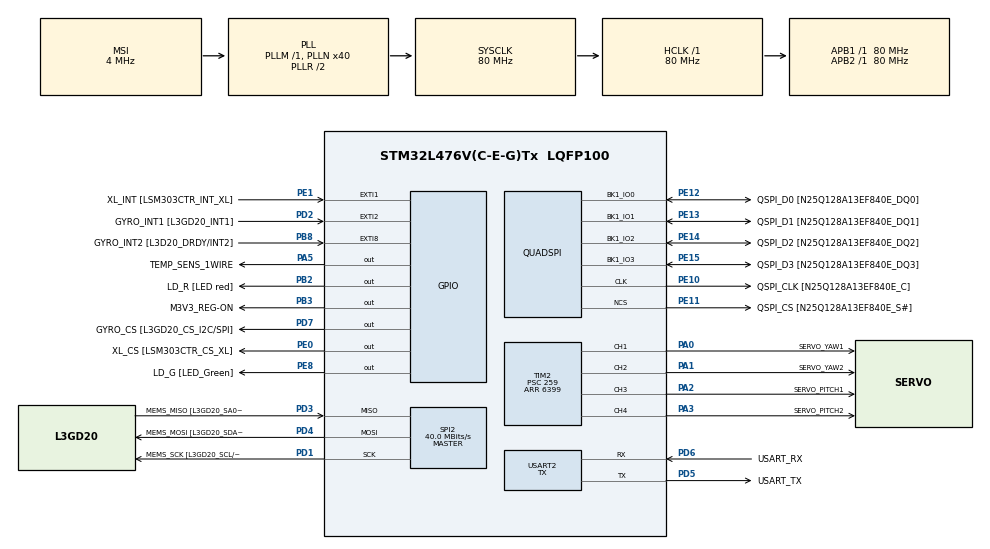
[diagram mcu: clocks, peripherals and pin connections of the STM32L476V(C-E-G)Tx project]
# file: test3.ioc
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CRC.CRCLength=CRC_POLYLENGTH_8B
CRC.DefaultInitValueUse=DEFAULT_INIT_VALUE_DISABLE
CRC.DefaultPolynomialUse=DEFAULT_POLYNOMIAL_DISABLE
Dma.QUADSPI.0.Direction=DMA_MEMORY_TO_PERIPH
Dma.QUADSPI.0.Instance=DMA1_Channel5
Dma.QUADSPI.0.MemDataAlignment=DMA_MDATAALIGN_BYTE
Dma.QUADSPI.0.MemInc=DMA_MINC_ENABLE
Dma.QUADSPI.0.Mode=DMA_NORMAL
Dma.QUADSPI.0.PeriphDataAlignment=DMA_PDATAALIGN_BYTE
Dma.QUADSPI.0.PeriphInc=DMA_PINC_DISABLE
Dma.QUADSPI.0.Priority=DMA_PRIORITY_LOW
Dma.Request0=QUADSPI
Mcu.Family=STM32L4
Mcu.Name=STM32L476V(C-E-G)Tx
Mcu.Package=LQFP100
NVIC.DMA1_Channel5_IRQn=true\:0\:0\:false\:false\:true\:false\:true
NVIC.PriorityGroup=NVIC_PRIORITYGROUP_4
NVIC.TIM6_DAC_IRQn=true\:0\:0\:false\:false\:true\:true\:true
PA0.GPIO_Label=SERVO_YAW1
PA0.Signal=S_TIM2_CH1
PA1.GPIO_Label=SERVO_YAW2
PA1.Signal=S_TIM2_CH2
PA13\ (JTMS-SWDIO).GPIO_Label=SWDIO
PA13\ (JTMS-SWDIO).Mode=Serial_Wire
PA13\ (JTMS-SWDIO).Signal=SYS_JTMS-SWDIO
PA14\ (JTCK-SWCLK).GPIO_Label=SWCLK
PA14\ (JTCK-SWCLK).Mode=Serial_Wire
PA14\ (JTCK-SWCLK).Signal=SYS_JTCK-SWCLK
PA2.GPIO_Label=SERVO_PITCH1
PA2.Signal=S_TIM2_CH3
PA3.GPIO_Label=SERVO_PITCH2
PA3.Signal=S_TIM2_CH4
PA5.GPIO_Label=TEMP_SENS_1WIRE
PA5.GPIO_ModeDefaultOutputPP=GPIO_MODE_OUTPUT_OD
PA5.GPIO_PuPd=GPIO_PULLUP
PA5.PinState=GPIO_PIN_SET
PA5.Signal=GPIO_Output
PB2.GPIO_Label=LD_R [LED red]
PB2.GPIO_ModeDefaultOutputPP=GPIO_MODE_OUTPUT_PP
PB2.GPIO_PuPd=GPIO_PULLUP
PB2.GPIO_Speed=GPIO_SPEED_FREQ_VERY_HIGH
PB2.Signal=GPIO_Output
PB3\ (JTDO-TRACESWO).GPIO_Label=M3V3_REG-ON
PB3\ (JTDO-TRACESWO).GPIO_ModeDefaultOutputPP=GPIO_MODE_OUTPUT_PP
PB3\ (JTDO-TRACESWO).GPIO_PuPd=GPIO_NOPULL
PB3\ (JTDO-TRACESWO).GPIO_Speed=GPIO_SPEED_FREQ_LOW
PB3\ (JTDO-TRACESWO).Signal=GPIO_Output
PB8.GPIO_Label=GYRO_INT2 [L3D20_DRDY/INT2]
PB8.GPIO_ModeDefaultEXTI=GPIO_MODE_EVT_RISING
PB8.GPIO_PuPd=GPIO_NOPULL
PB8.Signal=GPXTI8
PC14-OSC32_IN\ (PC14).Mode=LSE-External-Oscillator
PC14-OSC32_IN\ (PC14).Signal=RCC_OSC32_IN
PC15-OSC32_OUT\ (PC15).Mode=LSE-External-Oscillator
PC15-OSC32_OUT\ (PC15).Signal=RCC_OSC32_OUT
PD1.GPIO_Label=MEMS_SCK [L3GD20_SCL/SPC]
PD1.GPIO_Mode=GPIO_MODE_AF_PP
PD1.GPIO_PuPd=GPIO_NOPULL
PD1.GPIO_Speed=GPIO_SPEED_FREQ_VERY_HIGH
PD1.Mode=Full_Duplex_Master
PD1.Signal=SPI2_SCK
PD2.GPIO_Label=GYRO_INT1 [L3GD20_INT1]
PD2.GPIO_ModeDefaultEXTI=GPIO_MODE_EVT_RISING
PD2.GPIO_PuPd=GPIO_NOPULL
PD2.Signal=GPXTI2
PD3.GPIO_Label=MEMS_MISO [L3GD20_SA0/SDO]
PD3.GPIO_Mode=GPIO_MODE_AF_PP
PD3.GPIO_PuPd=GPIO_NOPULL
PD3.GPIO_Speed=GPIO_SPEED_FREQ_VERY_HIGH
PD3.Mode=Full_Duplex_Master
PD3.Signal=SPI2_MISO
PD4.GPIO_Label=MEMS_MOSI [L3GD20_SDA/SDI/SDO]
PD4.GPIO_Mode=GPIO_MODE_AF_PP
PD4.GPIO_PuPd=GPIO_NOPULL
PD4.GPIO_Speed=GPIO_SPEED_FREQ_VERY_HIGH
PD4.Mode=Full_Duplex_Master
PD4.Signal=SPI2_MOSI
PD5.GPIO_Label=USART_TX
PD5.GPIO_Mode=GPIO_MODE_AF_PP
PD5.GPIO_PuPd=GPIO_PULLUP
PD5.GPIO_Speed=GPIO_SPEED_FREQ_VERY_HIGH
PD5.Mode=Asynchronous
PD5.Signal=USART2_TX
PD6.GPIO_Label=USART_RX
PD6.GPIO_Mode=GPIO_MODE_AF_PP
PD6.GPIO_PuPd=GPIO_PULLUP
PD6.GPIO_Speed=GPIO_SPEED_FREQ_VERY_HIGH
PD6.Mode=Asynchronous
PD6.Signal=USART2_RX
PD7.GPIO_Label=GYRO_CS [L3GD20_CS_I2C/SPI]
PD7.GPIO_ModeDefaultOutputPP=GPIO_MODE_OUTPUT_PP
PD7.GPIO_PuPd=GPIO_NOPULL
PD7.GPIO_Speed=GPIO_SPEED_FREQ_VERY_HIGH
PD7.Signal=GPIO_Output
PE0.GPIO_Label=XL_CS [LSM303CTR_CS_XL]
PE0.GPIO_ModeDefaultOutputPP=GPIO_MODE_OUTPUT_PP
PE0.GPIO_PuPd=GPIO_NOPULL
PE0.GPIO_Speed=GPIO_SPEED_FREQ_LOW
PE0.Signal=GPIO_Output
PE1.GPIO_Label=XL_INT [LSM303CTR_INT_XL]
PE1.GPIO_ModeDefaultEXTI=GPIO_MODE_EVT_RISING
PE1.GPIO_PuPd=GPIO_NOPULL
PE1.Signal=GPXTI1
PE10.GPIO_Label=QSPI_CLK [N25Q128A13EF840E_C]
PE10.GPIO_Mode=GPIO_MODE_AF_PP
PE10.GPIO_PuPd=GPIO_NOPULL
PE10.GPIO_Speed=GPIO_SPEED_FREQ_VERY_HIGH
PE10.Mode=Single Bank
PE10.Signal=QUADSPI_CLK
PE11.GPIO_Label=QSPI_CS [N25Q128A13EF840E_S\#]
PE11.GPIO_Mode=GPIO_MODE_AF_PP
PE11.GPIO_PuPd=GPIO_NOPULL
PE11.GPIO_Speed=GPIO_SPEED_FREQ_VERY_HIGH
PE11.Mode=Single Bank
PE11.Signal=QUADSPI_NCS
PE12.GPIO_Label=QSPI_D0 [N25Q128A13EF840E_DQ0]
PE12.GPIO_Mode=GPIO_MODE_AF_PP
PE12.GPIO_PuPd=GPIO_NOPULL
PE12.GPIO_Speed=GPIO_SPEED_FREQ_VERY_HIGH
PE12.Mode=Single Bank
PE12.Signal=QUADSPI_BK1_IO0
PE13.GPIO_Label=QSPI_D1 [N25Q128A13EF840E_DQ1]
PE13.GPIO_Mode=GPIO_MODE_AF_PP
PE13.GPIO_PuPd=GPIO_NOPULL
PE13.GPIO_Speed=GPIO_SPEED_FREQ_VERY_HIGH
PE13.Mode=Single Bank
PE13.Signal=QUADSPI_BK1_IO1
PE14.GPIO_Label=QSPI_D2 [N25Q128A13EF840E_DQ2]
PE14.GPIO_Mode=GPIO_MODE_AF_PP
PE14.GPIO_PuPd=GPIO_NOPULL
PE14.GPIO_Speed=GPIO_SPEED_FREQ_VERY_HIGH
PE14.Mode=Single Bank
PE14.Signal=QUADSPI_BK1_IO2
PE15.GPIO_Label=QSPI_D3 [N25Q128A13EF840E_DQ3]
PE15.GPIO_Mode=GPIO_MODE_AF_PP
PE15.GPIO_PuPd=GPIO_NOPULL
PE15.GPIO_Speed=GPIO_SPEED_FREQ_VERY_HIGH
PE15.Mode=Single Bank
PE15.Signal=QUADSPI_BK1_IO3
PE8.GPIO_Label=LD_G [LED_Green]
PE8.GPIO_ModeDefaultOutputPP=GPIO_MODE_OUTPUT_PP
PE8.GPIO_PuPd=GPIO_PULLUP
PE8.GPIO_Speed=GPIO_SPEED_FREQ_VERY_HIGH
PE8.Signal=GPIO_Output
PH0-OSC_IN\ (PH0).Mode=HSE-External-Oscillator
PH0-OSC_IN\ (PH0).Signal=RCC_OSC_IN
PH1-OSC_OUT\ (PH1).Mode=HSE-External-Oscillator
PH1-OSC_OUT\ (PH1).Signal=RCC_OSC_OUT
ProjectManager.HeapSize=0x200
ProjectManager.StackSize=0x400
ProjectManager.TargetToolchain=STM32CubeIDE
QUADSPI.ClockPrescaler-Single\ Bank=1
QUADSPI.FifoThreshold-Single\ Bank=4
QUADSPI.FlashSize-Single\ Bank=23
QUADSPI.SampleShifting-Single\ Bank=QSPI_SAMPLE_SHIFTING_HALFCYCLE
RCC.ADCFreq_Value=32000000
RCC.AHBFreq_Value=80000000
RCC.APB1Freq_Value=80000000
RCC.APB1TimFreq_Value=80000000
RCC.APB2Freq_Value=80000000
RCC.APB2TimFreq_Value=80000000
RCC.CortexFreq_Value=80000000
RCC.HCLKFreq_Value=80000000
RCC.HSE_VALUE=8000000
RCC.HSI_VALUE=16000000
RCC.MSI_VALUE=4000000
RCC.PLLN=40
RCC.PLLSAI1N=16
RCC.PREFETCH_ENABLE=1
RCC.SYSCLKFreq_VALUE=80000000
RCC.SYSCLKSource=RCC_SYSCLKSOURCE_PLLCLK
RCC.USBFreq_Value=32000000
RCC.VCOOutputFreq_Value=160000000
SH.S_TIM2_CH1.0=TIM2_CH1,PWM Generation1 CH1
SH.S_TIM2_CH2.0=TIM2_CH2,PWM Generation2 CH2
SH.S_TIM2_CH3.0=TIM2_CH3,PWM Generation3 CH3
SH.S_TIM2_CH4.0=TIM2_CH4,PWM Generation4 CH4
SPI2.CalculateBaudRate=40.0 MBits/s
SPI2.Direction=SPI_DIRECTION_2LINES
SPI2.Mode=SPI_MODE_MASTER
SPI2.VirtualType=VM_MASTER
TIM2.Channel-PWM\ Generation1\ CH1=TIM_CHANNEL_1
TIM2.Channel-PWM\ Generation2\ CH2=TIM_CHANNEL_2
TIM2.Channel-PWM\ Generation3\ CH3=TIM_CHANNEL_3
TIM2.Channel-PWM\ Generation4\ CH4=TIM_CHANNEL_4
TIM2.Period=6399
TIM2.Prescaler=259
TIM6.Period=9999
TIM6.Prescaler=79
USART2.Mode=MODE_TX
USART2.VirtualMode-Asynchronous=VM_ASYNC
VP_CRC_VS_CRC.Mode=CRC_Activate
VP_TIM2_VS_ClockSourceINT.Mode=Internal
VP_TIM6_VS_ClockSourceINT.Mode=Enable_Timer
board=STM32L476G-DISCO

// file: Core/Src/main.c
/* USER CODE BEGIN Header */
/**
  ******************************************************************************
  * @file           : main.c
  * @brief          : Main program body
  ******************************************************************************
  * @attention
  *
  * <h2><center>&copy; Copyright (c) 2023 STMicroelectronics.
  * All rights reserved.</center></h2>
  *
  * This software component is licensed by ST under Ultimate Liberty license
  * SLA0044, the "License"; You may not use this file except in compliance with
  * the License. You may obtain a copy of the License at:
  *                             www.st.com/SLA0044
  *
  ******************************************************************************
  */
/* USER CODE END Header */
#include "main.h"
#include "crc.h"
#include "dma.h"
#include "quadspi.h"
#include "spi.h"
#include "tim.h"
#include "usart.h"
#include "gpio.h"

/* USER CODE BEGIN Includes */
#include <stdio.h>
#include <string.h>
#include "imu.h"
#include "madgwick.h"
#include "pid.h"
/* USER CODE END Includes */

/* USER CODE BEGIN PD */
#define QSPI_FLASH_SIZE                      23
#define QSPI_PAGE_SIZE                       256
#define PRECISION 							 0.000001f
#define REMAP_OK							 0
#define REMAP_ERROR							 1
#define ALPHA 								 0.98
#define USART_DEBUG 			0	// 1 - print to usart
#define TEST_READ_AND_PRINT		0	// 1 - read data and print it
#define TIME_COUNTING			0
#define BUFFER_SIZE 			128
/* USER CODE END PD */

/* USER CODE BEGIN PM */
#define COUNT(__BUF__)        (sizeof(__BUF__) / sizeof(*(__BUF__)))
/* USER CODE END PM */

/* USER CODE BEGIN PV */
char DataBuffer[BUFFER_SIZE];
uint8_t ReadBuffer[BUFFER_SIZE];

float angX = 0.0f;
float angY = 0.0f;
float angZ = 0.0f;

float quat[4] = {1.0f, 0.0f, 0.0f, 0.0f};
RPY euler, eulerPrev;

float r, p, y;		// for STM32CubeMonitor
float pid_out_temp; // for STM32CubeMonitor

//calculated data from IMU
float g[3];
float a[3];
float m[3];

//Raw data for readings
int16_t mr[3] = {0, 0, 0};
int16_t ar[3] = {0, 0, 0};
float gr[3]  = {0.0f, 0.0f, 0.0f};

const float delta = 0.01f;

Quaternion q = {1.0f, 0.0f, 0.0f, 0.0f};

PID controller = {.Kp = _KP, .Ki = _KI, .Kd = _KD};

uint8_t flag;

/* USER CODE END PV */

void SystemClock_Config(void);
/* USER CODE BEGIN PFP */
static inline void remap(float value, float *output, float min, float max, float r_min, float r_max);

void HAL_TIM_PeriodElapsedCallback ( TIM_HandleTypeDef *htim ) {
        if ( htim == &htim6 ) {
        	flag = 1;
//    		__HAL_TIM_SET_COUNTER(&htim6, 999);
        }
}

/* USER CODE END PFP */

int main(void)
{
  /* USER CODE BEGIN 1 */
	uint32_t address = 0;
	float pid_out_sum = 0.0f;
	uint8_t counter = 0;
	uint8_t apogeeCounter = 0;
	float servo_value = 0.0f;
	uint32_t crc;

  /* USER CODE END 1 */

  /* MCU Configuration--------------------------------------------------------*/

  /* Reset of all peripherals, Initializes the Flash interface and the Systick. */
  HAL_Init();

  /* USER CODE BEGIN Init */
  uint32_t historic = 0;
  /* USER CODE END Init */

  /* Configure the system clock */
  SystemClock_Config();

  /* Initialize all configured peripherals */
  MX_GPIO_Init();
  MX_DMA_Init();
  MX_QUADSPI_Init();
  MX_SPI2_Init();
  MX_USART2_UART_Init();
  MX_TIM2_Init();
  MX_TIM6_Init();
  MX_CRC_Init();
  /* USER CODE BEGIN 2 */

  // timer for PWM initialization
  HAL_TIM_Base_Start_IT(&htim2);
  HAL_TIM_PWM_Start(&htim2, TIM_CHANNEL_1);
  HAL_TIM_PWM_Start(&htim2, TIM_CHANNEL_2);
  HAL_TIM_PWM_Start(&htim2, TIM_CHANNEL_3);
  HAL_TIM_PWM_Start(&htim2, TIM_CHANNEL_4);

//  __HAL_TIM_SET_COUNTER(&htim6, 999);

  HAL_Delay(200);

  //test of servos from -90 to 90 degrees
//for (int var = 160; var <= 800; var += 160) {
//	__HAL_TIM_SET_COMPARE(&htim2, TIM_CHANNEL_1, var);
//	__HAL_TIM_SET_COMPARE(&htim2, TIM_CHANNEL_2, var);
//	__HAL_TIM_SET_COMPARE(&htim2, TIM_CHANNEL_3, var);
//	__HAL_TIM_SET_COMPARE(&htim2, TIM_CHANNEL_4, var);
//	HAL_Delay(500);
//}

	// set servos in neutral position
{
	__HAL_TIM_SET_COMPARE(&htim2, TIM_CHANNEL_1, 480);
	__HAL_TIM_SET_COMPARE(&htim2, TIM_CHANNEL_2, 480);
	__HAL_TIM_SET_COMPARE(&htim2, TIM_CHANNEL_3, 480);
	__HAL_TIM_SET_COMPARE(&htim2, TIM_CHANNEL_4, 480);
}

r = 0.0f;
p = 0.0f;
y = 0.0f;

HAL_GPIO_WritePin(LD_G_GPIO_Port, LD_G_Pin, 1);
HAL_Delay(100);
HAL_GPIO_WritePin(LD_G_GPIO_Port, LD_G_Pin, 0);
HAL_Delay(900);

  BSP_QSPI_Init();

  // Clear memory
	#if USART_DEBUG
  	  	  printf("Start of memory erasing\r\n");
	#endif
//    if (BSP_QSPI_Erase_Chip() != QSPI_OK) {
//  	  Error_Handler();
//    }
	#if USART_DEBUG
    	printf("End of memory erasing\r\n");
	#endif
    	HAL_GPIO_WritePin(LD_G_GPIO_Port, LD_G_Pin, 1);
    	HAL_Delay(100);
    	HAL_GPIO_WritePin(LD_G_GPIO_Port, LD_G_Pin, 0);
    	HAL_Delay(200);
    	HAL_GPIO_WritePin(LD_G_GPIO_Port, LD_G_Pin, 1);
    	HAL_Delay(100);
    	HAL_GPIO_WritePin(LD_G_GPIO_Port, LD_G_Pin, 0);
    	HAL_Delay(200);

	BSP_GYRO_Init();
	BSP_COMPASS_Init();

	HAL_TIM_Base_Start_IT(&htim6);

  /* USER CODE END 2 */

  /* Infinite loop */
  /* USER CODE BEGIN WHILE */
  while (1)
  {
	  if(flag == 1) {

		flag = 0;

		// get new measurements from IMU
		updateIMU(mr, ar, gr, a, g, m);

		//check apogee
		if((a[0] + a[1] + a[2]) < 0.1)
		{
			apogeeCounter++;
		}
		else {
			apogeeCounter = 0;
		}

		if(apogeeCounter > 4) {
        	HAL_GPIO_TogglePin(LD_G_GPIO_Port, LD_G_Pin);
		}

		// update quaternion by madgwick filter and recalculate it to euler angles
		updateQuat(g, a, m);
		quat2rpy(&q, &euler);

		// low pass filter
		euler.roll = ALPHA * eulerPrev.roll + (1.0f - ALPHA) * euler.roll;
		eulerPrev.roll = euler.roll;
		euler.pitch = ALPHA * eulerPrev.pitch + (1.0f - ALPHA) * euler.pitch;
		eulerPrev.pitch = euler.pitch;
		euler.yaw = ALPHA * eulerPrev.yaw + (1.0f - ALPHA) * euler.yaw;
		eulerPrev.yaw = euler.yaw;

		// rad to deg
		r = euler.roll 	* (180.0 / M_PI);
		p = euler.pitch * (180.0 / M_PI);
		y = euler.yaw 	* (180.0 / M_PI);

		// pid step for one axis
		updatePID(0.0f, y);

		// for STM32CubeMonitor
		pid_out_temp = controller.out;
		pid_out_sum += controller.out;

		  snprintf(DataBuffer, BUFFER_SIZE, "X %f %f %f %f", r, p, y, pid_out_temp);
		  crc = HAL_CRC_Calculate(&hcrc, (void*)DataBuffer, strlen(DataBuffer));
		  snprintf(DataBuffer, BUFFER_SIZE, "%s 0x%02x\r\n", DataBuffer, crc);

		#if USART_DEBUG
		  	  printf("%s", DataBuffer);
		#endif

		BSP_QSPI_Write((uint8_t*)DataBuffer, address, BUFFER_SIZE);	// write data to memory

		#if TEST_READ_AND_PRINT
			BSP_QSPI_Read(ReadBuffer, address, BUFFER_SIZE);
			printf("%s", ReadBuffer);
		#endif

		address += BUFFER_SIZE;
		counter++;

		if (counter == 4) {
			pid_out_sum /= 4.0f;
			remap(pid_out_sum, &servo_value, -500.0f, 500.0f, 320.0, 640.0);

			__HAL_TIM_SET_COMPARE(&htim2, TIM_CHANNEL_1, servo_value);
			__HAL_TIM_SET_COMPARE(&htim2, TIM_CHANNEL_2, servo_value);
			__HAL_TIM_SET_COMPARE(&htim2, TIM_CHANNEL_3, servo_value);
			__HAL_TIM_SET_COMPARE(&htim2, TIM_CHANNEL_4, servo_value);

			pid_out_sum = 0.0f;
			counter = 0;
		}

		}

    /* USER CODE END WHILE */

  }
}

void SystemClock_Config(void)
{
  RCC_OscInitTypeDef RCC_OscInitStruct = {0};
  RCC_ClkInitTypeDef RCC_ClkInitStruct = {0};
  RCC_PeriphCLKInitTypeDef PeriphClkInit = {0};

  /** Configure LSE Drive Capability
  */
  HAL_PWR_EnableBkUpAccess();
  __HAL_RCC_LSEDRIVE_CONFIG(RCC_LSEDRIVE_LOW);
  /** Initializes the RCC Oscillators according to the specified parameters
  * in the RCC_OscInitTypeDef structure.
  */
  RCC_OscInitStruct.OscillatorType = RCC_OSCILLATORTYPE_LSE|RCC_OSCILLATORTYPE_MSI;
  RCC_OscInitStruct.LSEState = RCC_LSE_ON;
  RCC_OscInitStruct.MSIState = RCC_MSI_ON;
  RCC_OscInitStruct.MSICalibrationValue = 0;
  RCC_OscInitStruct.MSIClockRange = RCC_MSIRANGE_6;
  RCC_OscInitStruct.PLL.PLLState = RCC_PLL_ON;
  RCC_OscInitStruct.PLL.PLLSource = RCC_PLLSOURCE_MSI;
  RCC_OscInitStruct.PLL.PLLM = 1;
  RCC_OscInitStruct.PLL.PLLN = 40;
  RCC_OscInitStruct.PLL.PLLP = RCC_PLLP_DIV7;
  RCC_OscInitStruct.PLL.PLLQ = RCC_PLLQ_DIV2;
  RCC_OscInitStruct.PLL.PLLR = RCC_PLLR_DIV2;
  if (HAL_RCC_OscConfig(&RCC_OscInitStruct) != HAL_OK)
  {
    Error_Handler();
  }
  /** Initializes the CPU, AHB and APB buses clocks
  */
  RCC_ClkInitStruct.ClockType = RCC_CLOCKTYPE_HCLK|RCC_CLOCKTYPE_SYSCLK
                              |RCC_CLOCKTYPE_PCLK1|RCC_CLOCKTYPE_PCLK2;
  RCC_ClkInitStruct.SYSCLKSource = RCC_SYSCLKSOURCE_PLLCLK;
  RCC_ClkInitStruct.AHBCLKDivider = RCC_SYSCLK_DIV1;
  RCC_ClkInitStruct.APB1CLKDivider = RCC_HCLK_DIV1;
  RCC_ClkInitStruct.APB2CLKDivider = RCC_HCLK_DIV1;

  if (HAL_RCC_ClockConfig(&RCC_ClkInitStruct, FLASH_LATENCY_4) != HAL_OK)
  {
    Error_Handler();
  }
  PeriphClkInit.PeriphClockSelection = RCC_PERIPHCLK_USART2;
  PeriphClkInit.Usart2ClockSelection = RCC_USART2CLKSOURCE_PCLK1;
  if (HAL_RCCEx_PeriphCLKConfig(&PeriphClkInit) != HAL_OK)
  {
    Error_Handler();
  }
  /** Configure the main internal regulator output voltage
  */
  if (HAL_PWREx_ControlVoltageScaling(PWR_REGULATOR_VOLTAGE_SCALE1) != HAL_OK)
  {
    Error_Handler();
  }
  /** Enable MSI Auto calibration
  */
  HAL_RCCEx_EnableMSIPLLMode();
}

/* USER CODE BEGIN 4 */
int _write(int file, char *ptr, int len){
	HAL_UART_Transmit(&huart2, ptr, len, 50);

	return len;
}

/*
min and max - base range
r_min and r_max - range after remap
*/
static inline void remap(float value, float *output, float min, float max, float r_min, float r_max)
{
    if (fabs(max - min) <= PRECISION)
    {
        *output = (r_min + r_min)/2;
    }

    *output = (r_min + (r_max - r_min)*(value - min)/(max - min));
    if (r_max > r_min){
        if (*output > r_max) *output = r_max;
        else if (*output < r_min) *output = r_min;
    }
    if (r_min > r_max){
        if (*output > r_min) *output = r_min;
        else if (*output < r_max) *output = r_max;
    }
}

//void IMU(float *angX, float *angY, float *angZ) {
//	int16_t accRaw[3] = {0, 0, 0};
//	float gyroRaw[3]  = {0.0f, 0.0f, 0.0f};
//
//	BSP_GYRO_GetXYZ(gyroRaw);
//	BSP_COMPASS_AccGetXYZ(accRaw);
//	//raw to m/s^2
//	float accX = (float)accRaw[0] * ACC_SENSITIVITY;
//	float accY = (float)accRaw[1] * ACC_SENSITIVITY;
//	float accZ = (float)accRaw[2] * ACC_SENSITIVITY;
//
//	//gyro values to degrees
//	float gyroX = gyroRaw[0] * GYRO_SENSITIVITY * DT;
//	float gyroY = gyroRaw[1] * GYRO_SENSITIVITY * DT;
//	float gyroZ = gyroRaw[2] * GYRO_SENSITIVITY * DT;
//
//	//acc values to degrees
//	float accAngX = (float)((atan2(accY, accZ)) + M_PI ) * (180 / M_PI);
//	float accAngY = (float)((atan2(accZ, accX)) + M_PI ) * (180 / M_PI);
//
//	//complementary filtration and position calculation
//	*angX = ALPHA * (gyroX * DT + angX) + (1.0f - ALPHA) * accAngX;
//	*angY = ALPHA * (gyroY * DT + angY) + (1.0f - ALPHA) * accAngY;
//	//roll filtration and calculation
//	*angZ = ALPHA * (gyroZ * DT + angZ);
//}
/* USER CODE END 4 */

void Error_Handler(void)
{
  /* USER CODE BEGIN Error_Handler_Debug */
  /* User can add his own implementation to report the HAL error return state */
	  HAL_GPIO_WritePin(LD_G_GPIO_Port, LD_G_Pin, 1);
	  HAL_Delay(500);
	  HAL_GPIO_WritePin(LD_G_GPIO_Port, LD_G_Pin, 0);
	  HAL_Delay(500);
  /* USER CODE END Error_Handler_Debug */
}

/************************ (C) COPYRIGHT STMicroelectronics *****END OF FILE****/
